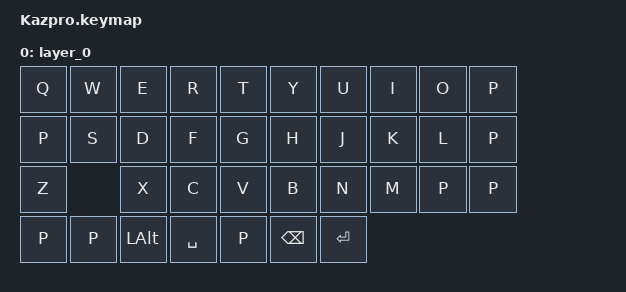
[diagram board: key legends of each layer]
/* 
 * Copyright (c) 2020 The ZMK Contributors
 *
 * SPDX-License-Identifier: MIT
 */

#include <behaviors.dtsi>
#include <dt-bindings/zmk/keys.h>
#include <dt-bindings/zmk/bt.h>

#define layer_0 


/ {
    keymap {
        compatible = "zmk,keymap";

       layer_0 {
            bindings = <
    &kp Q     &kp W      &kp E       &kp R       &kp T       &kp Y       &kp U       &kp I       &kp O      &kp P
    &kp P     &kp S      &kp D       &kp F       &kp G       &kp H       &kp J       &kp K       &kp L      &kp P
    &kp Z                &kp X       &kp C       &kp V       &kp B       &kp N       &kp M       &kp P  &kp P
    &kp P  &kp P     &kp LALT       &kp SPACE     &kp P    &kp BACKSPACE   &kp ENTER   
            >;
        };
    };
};
